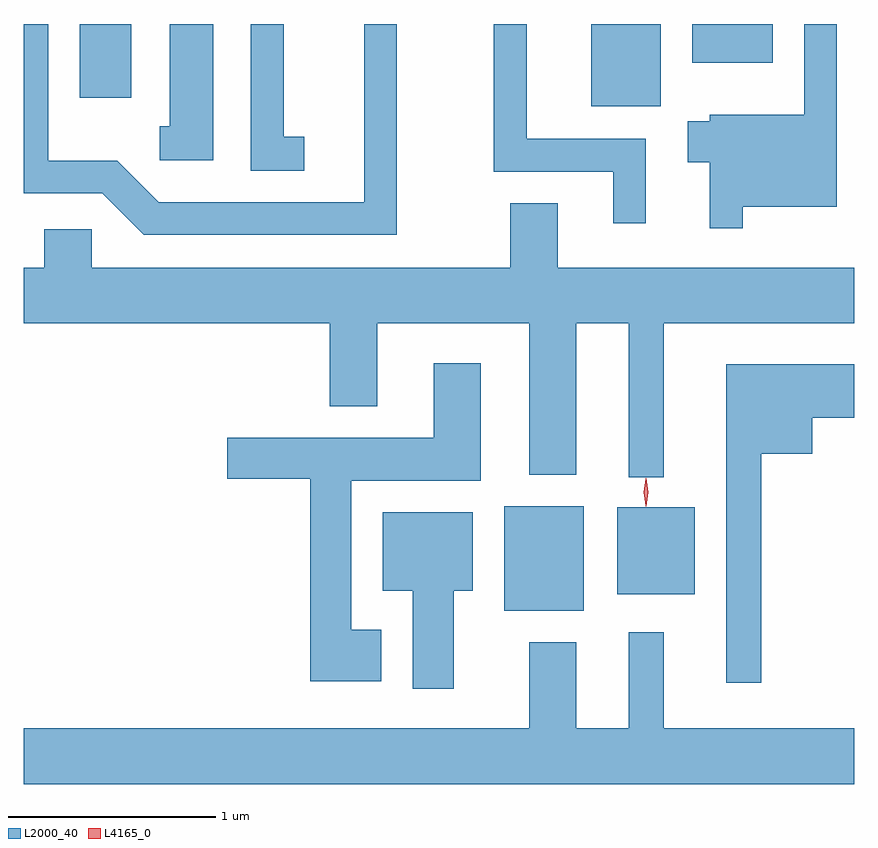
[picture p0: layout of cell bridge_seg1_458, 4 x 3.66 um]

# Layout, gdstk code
import gdstk
lib = gdstk.Library(unit=1e-6, precision=1e-09)
def R(c, l, rs):  # rectangles x0, y0, x1, y1
    for r in rs: c.add(gdstk.rectangle(r[:2], r[2:], *l))
def P(c, l, *ps):  # polygons
    for p in ps: c.add(gdstk.Polygon(p, *l))
L2000_40 = (2000, 40)
L4165_0 = (4165, 0)

bridge_seg1_458 = lib.new_cell('bridge_seg1_458')
R(bridge_seg1_458, L2000_40, [(204.021,878.211,204.404,878.714), (204.566,878.291,204.939,878.709), (204.441,880.641,204.774,881.037), (201.976,880.681,202.224,881.037), (204.926,880.851,205.314,881.037)])
P(bridge_seg1_458, L2000_40, [(202.619,881.037),(202.411,881.037),(202.411,880.544),(202.363,880.544),(202.363,880.381),(202.619,880.381)],
  [(203.504,881.037),(203.346,881.037),(203.346,880.179),(202.357,880.179),(202.157,880.379),(201.824,880.379),(201.824,881.037),(201.707,881.037),(201.707,880.221),(202.084,880.221),(202.284,880.021),(203.504,880.021)],
  [(205.169,880.156),(205.624,880.156),(205.624,881.037),(205.466,881.037),(205.466,880.599),(205.011,880.599),(205.011,880.569),(204.906,880.569),(204.906,880.371),(205.011,880.371),(205.011,880.053),(205.169,880.053)],
  [(204.704,880.484),(204.129,880.484),(204.129,881.037),(203.971,881.037),(203.971,880.326),(204.546,880.326),(204.546,880.078),(204.704,880.078)],
  [(203.058,880.494),(202.959,880.494),(202.959,881.037),(202.801,881.037),(202.801,880.331),(203.058,880.331)],
  [(204.789,879.596),(205.707,879.596),(205.707,879.864),(204.279,879.864),(204.279,880.174),(204.051,880.174),(204.051,879.864),(202.034,879.864),(202.034,880.049),(201.806,880.049),(201.806,879.864),(201.707,879.864),(201.707,879.596),(203.181,879.596),(203.181,879.196),(203.409,879.196),(203.409,879.596),(204.141,879.596),(204.141,878.866),(204.369,878.866),(204.369,879.596),(204.621,879.596),(204.621,878.853),(204.789,878.853)],
  [(203.429,878.119),(203.284,878.119),(203.284,878.836),(203.909,878.836),(203.909,879.404),(203.681,879.404),(203.681,879.044),(202.686,879.044),(202.686,878.846),(203.086,878.846),(203.086,877.871),(203.429,877.871)],
  [(205.259,878.966),(205.504,878.966),(205.504,879.141),(205.707,879.141),(205.707,879.399),(205.091,879.399),(205.091,877.863),(205.259,877.863)],
  [(203.779,878.306),(203.869,878.306),(203.869,878.684),(203.436,878.684),(203.436,878.306),(203.581,878.306),(203.581,877.836),(203.779,877.836)],
  [(205.707,877.644),(204.789,877.644),(204.789,878.108),(204.621,878.108),(204.621,877.644),(204.369,877.644),(204.369,878.059),(204.141,878.059),(204.141,877.644),(201.707,877.644),(201.707,877.376),(205.707,877.376)])
P(bridge_seg1_458, L4165_0, [(204.704,878.718),(204.704,878.718),(204.694,878.782),(204.704,878.846),(204.704,878.847),(204.705,878.846),(204.714,878.782),(204.705,878.718)],
  [(204.704,878.714),(204.695,878.782),(204.704,878.85),(204.705,878.85),(204.705,878.85),(204.715,878.782),(204.705,878.714),(204.705,878.714)])

lib.write_gds('bridge_seg1_458.gds')
